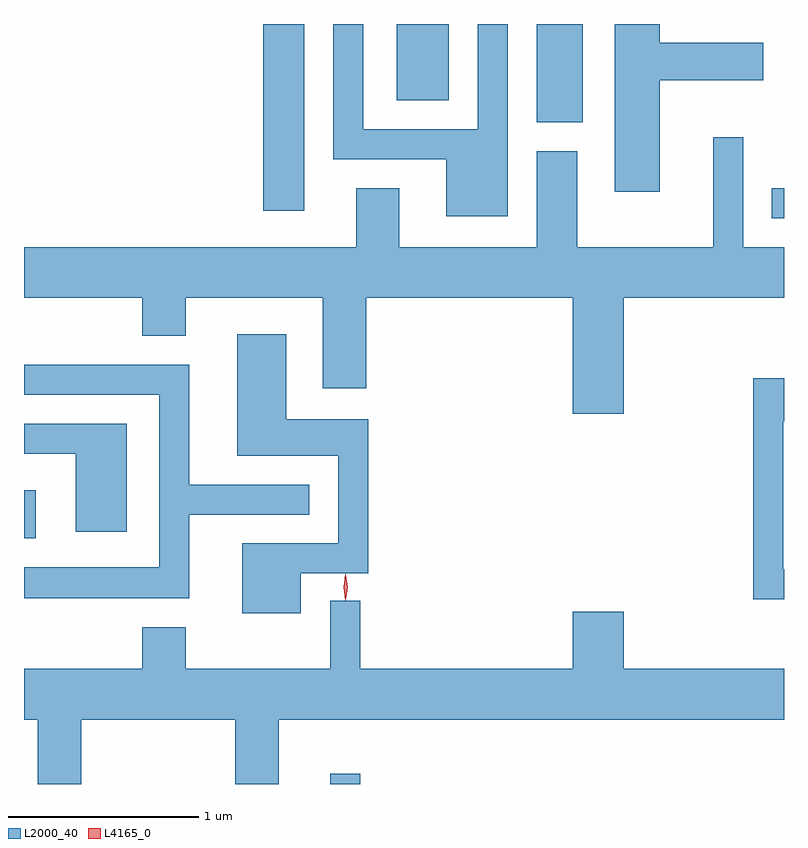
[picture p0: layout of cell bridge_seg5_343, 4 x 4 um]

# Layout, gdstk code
import gdstk
lib = gdstk.Library(unit=1e-6, precision=1e-09)
def R(c, l, rs):  # rectangles x0, y0, x1, y1
    for r in rs: c.add(gdstk.rectangle(r[:2], r[2:], *l))
def P(c, l, *ps):  # polygons
    for p in ps: c.add(gdstk.Polygon(p, *l))
L2000_40 = (2000, 40)
L4165_0 = (4165, 0)

bridge_seg5_343 = lib.new_cell('bridge_seg5_343')
R(bridge_seg5_343, L2000_40, [(813.201,1423.158,813.359,1423.213), (811.588,1424.451,811.649,1424.704), (815.523,1426.136,815.588,1426.294), (812.846,1426.176,813.064,1427.158), (814.286,1426.641,814.529,1427.158), (813.551,1426.756,813.824,1427.158)])
P(bridge_seg5_343, L2000_40, [(814.934,1426.861),(815.479,1426.861),(815.479,1427.059),(814.934,1427.059),(814.934,1427.158),(814.696,1427.158),(814.696,1426.276),(814.934,1426.276)],
  [(814.134,1427.158),(813.976,1427.158),(813.976,1426.604),(813.374,1426.604),(813.374,1427.158),(813.216,1427.158),(813.216,1426.446),(813.811,1426.446),(813.811,1426.146),(814.134,1426.146)],
  [(814.744,1425.716),(815.588,1425.716),(815.588,1425.984),(815.374,1425.984),(815.374,1426.563),(815.216,1426.563),(815.216,1425.984),(814.499,1425.984),(814.499,1426.489),(814.286,1426.489),(814.286,1425.984),(813.564,1425.984),(813.564,1426.294),(813.336,1426.294),(813.336,1425.984),(811.588,1425.984),(811.588,1425.716),(812.211,1425.716),(812.211,1425.516),(812.439,1425.516),(812.439,1425.716),(813.161,1425.716),(813.161,1425.241),(813.389,1425.241),(813.389,1425.716),(814.476,1425.716),(814.476,1425.106),(814.744,1425.106)],
  [(813.044,1424.266),(813.399,1424.266),(813.399,1425.079),(812.969,1425.079),(812.969,1425.524),(812.711,1425.524),(812.711,1424.886),(813.241,1424.886),(813.241,1424.424),(812.736,1424.424),(812.736,1424.056),(813.044,1424.056)],
  [(812.459,1424.576),(813.088,1424.576),(813.088,1424.734),(812.459,1424.734),(812.459,1425.364),(811.588,1425.364),(811.588,1425.206),(812.301,1425.206),(812.301,1424.299),(811.588,1424.299),(811.588,1424.136),(812.459,1424.136)],
  [(815.588,1424.289),(815.584,1424.289),(815.584,1425.066),(815.588,1425.066),(815.588,1425.294),(815.426,1425.294),(815.426,1424.131),(815.588,1424.131)],
  [(812.129,1425.054),(811.588,1425.054),(811.588,1424.896),(811.861,1424.896),(811.861,1424.486),(812.129,1424.486)],
  [(811.889,1423.496),(812.701,1423.496),(812.701,1423.158),(812.929,1423.158),(812.929,1423.496),(815.588,1423.496),(815.588,1423.764),(814.744,1423.764),(814.744,1424.064),(814.476,1424.064),(814.476,1423.764),(813.359,1423.764),(813.359,1424.123),(813.201,1424.123),(813.201,1423.764),(812.439,1423.764),(812.439,1423.984),(812.211,1423.984),(812.211,1423.764),(811.588,1423.764),(811.588,1423.496),(811.661,1423.496),(811.661,1423.158),(811.889,1423.158)])
P(bridge_seg5_343, L4165_0, [(813.28,1424.125),(813.28,1424.126),(813.27,1424.194),(813.28,1424.262),(813.28,1424.263),(813.281,1424.262),(813.29,1424.194),(813.281,1424.126)],
  [(813.281,1424.128),(813.28,1424.129),(813.271,1424.194),(813.28,1424.26),(813.281,1424.26),(813.281,1424.26),(813.291,1424.194),(813.281,1424.129)])

lib.write_gds('bridge_seg5_343.gds')
